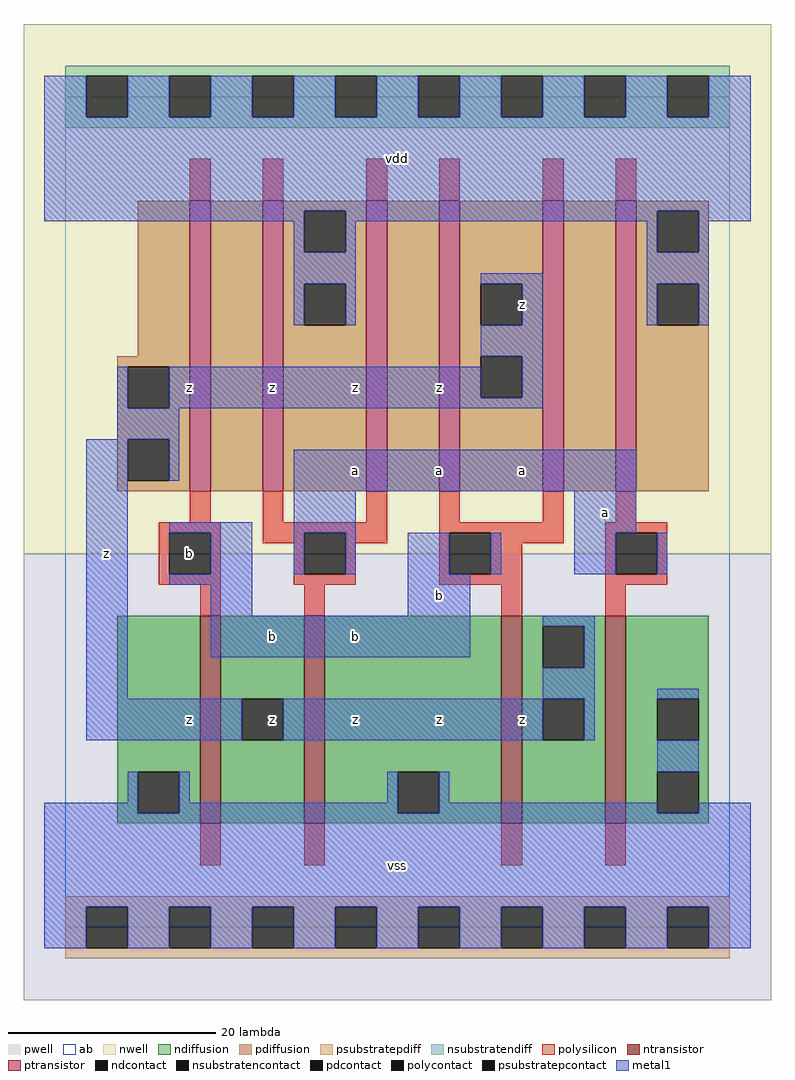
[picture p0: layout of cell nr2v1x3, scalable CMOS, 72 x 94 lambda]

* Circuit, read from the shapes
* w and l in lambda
.subckt nr2v1x3 a b vdd vss z
M1 z b vss vss nfet w=20 l=2 m=2
M2 vss a z vss nfet w=20 l=2 m=2
M3 n1 b z vdd pfet w=28 l=2
M4 vdd a n1 vdd pfet w=28 l=2
M5 n2 a vdd vdd pfet w=28 l=2
M6 z b n2 vdd pfet w=28 l=2
M7 n3 b z vdd pfet w=28 l=2
M8 vdd a n3 vdd pfet w=28 l=2
.ends

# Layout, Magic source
magic
tech scmos
<< ab >>
rect 0 0 64 80
<< pwell >>
rect -4 -7 68 36
<< nwell >>
rect -4 36 68 87
<< polysilicon >>
rect 12 70 14 74
rect 19 70 21 74
rect 29 70 31 74
rect 36 70 38 74
rect 46 70 48 74
rect 53 70 55 74
rect 12 39 14 42
rect 19 39 21 42
rect 29 39 31 42
rect 9 38 15 39
rect 9 34 10 38
rect 14 34 15 38
rect 19 38 31 39
rect 19 37 23 38
rect 9 33 15 34
rect 22 34 23 37
rect 27 37 31 38
rect 36 39 38 42
rect 46 39 48 42
rect 53 39 55 42
rect 36 38 48 39
rect 27 34 28 37
rect 22 33 28 34
rect 36 34 37 38
rect 41 37 48 38
rect 52 38 58 39
rect 41 34 44 37
rect 36 33 44 34
rect 13 30 15 33
rect 23 30 25 33
rect 42 30 44 33
rect 52 34 53 38
rect 57 34 58 38
rect 52 33 58 34
rect 52 30 54 33
rect 13 6 15 10
rect 23 6 25 10
rect 42 6 44 10
rect 52 6 54 10
<< ndiffusion >>
rect 5 15 13 30
rect 5 11 7 15
rect 11 11 13 15
rect 5 10 13 11
rect 15 22 23 30
rect 15 18 17 22
rect 21 18 23 22
rect 15 10 23 18
rect 25 15 42 30
rect 25 11 32 15
rect 36 11 42 15
rect 25 10 42 11
rect 44 29 52 30
rect 44 25 46 29
rect 50 25 52 29
rect 44 22 52 25
rect 44 18 46 22
rect 50 18 52 22
rect 44 10 52 18
rect 54 22 62 30
rect 54 18 57 22
rect 61 18 62 22
rect 54 15 62 18
rect 54 11 57 15
rect 61 11 62 15
rect 54 10 62 11
<< pdiffusion >>
rect 7 55 12 70
rect 5 54 12 55
rect 5 50 6 54
rect 10 50 12 54
rect 5 47 12 50
rect 5 43 6 47
rect 10 43 12 47
rect 5 42 12 43
rect 14 42 19 70
rect 21 69 29 70
rect 21 65 23 69
rect 27 65 29 69
rect 21 62 29 65
rect 21 58 23 62
rect 27 58 29 62
rect 21 42 29 58
rect 31 42 36 70
rect 38 62 46 70
rect 38 58 40 62
rect 44 58 46 62
rect 38 55 46 58
rect 38 51 40 55
rect 44 51 46 55
rect 38 42 46 51
rect 48 42 53 70
rect 55 69 62 70
rect 55 65 57 69
rect 61 65 62 69
rect 55 62 62 65
rect 55 58 57 62
rect 61 58 62 62
rect 55 42 62 58
<< metal1 >>
rect -2 78 2 82
rect 6 78 10 82
rect 14 78 18 82
rect 22 78 26 82
rect 30 78 34 82
rect 38 78 42 82
rect 46 78 50 82
rect 54 78 58 82
rect 62 78 66 82
rect -2 69 66 78
rect -2 68 23 69
rect 22 65 23 68
rect 27 68 57 69
rect 27 65 28 68
rect 22 62 28 65
rect 56 65 57 68
rect 61 68 66 69
rect 61 65 62 68
rect 22 58 23 62
rect 27 58 28 62
rect 40 62 46 63
rect 44 58 46 62
rect 56 62 62 65
rect 56 58 57 62
rect 61 58 62 62
rect 40 55 46 58
rect 5 50 6 54
rect 10 51 40 54
rect 44 51 46 55
rect 10 50 46 51
rect 5 47 11 50
rect 2 22 6 47
rect 10 43 11 47
rect 22 42 55 46
rect 10 38 18 39
rect 14 34 18 38
rect 22 38 28 42
rect 49 38 55 42
rect 22 34 23 38
rect 27 34 28 38
rect 33 34 37 38
rect 41 34 42 38
rect 49 34 53 38
rect 57 34 58 38
rect 10 33 18 34
rect 14 30 18 33
rect 33 30 39 34
rect 14 26 39 30
rect 46 29 51 30
rect 50 25 51 29
rect 46 22 51 25
rect 2 18 17 22
rect 21 18 46 22
rect 50 18 51 22
rect 57 22 61 23
rect 57 15 61 18
rect 6 12 7 15
rect -2 11 7 12
rect 11 12 12 15
rect 31 12 32 15
rect 11 11 32 12
rect 36 12 37 15
rect 36 11 57 12
rect 61 11 66 12
rect -2 2 66 11
rect -2 -2 2 2
rect 6 -2 10 2
rect 14 -2 18 2
rect 22 -2 26 2
rect 30 -2 34 2
rect 38 -2 42 2
rect 46 -2 50 2
rect 54 -2 58 2
rect 62 -2 66 2
<< ntransistor >>
rect 13 10 15 30
rect 23 10 25 30
rect 42 10 44 30
rect 52 10 54 30
<< ptransistor >>
rect 12 42 14 70
rect 19 42 21 70
rect 29 42 31 70
rect 36 42 38 70
rect 46 42 48 70
rect 53 42 55 70
<< polycontact >>
rect 10 34 14 38
rect 23 34 27 38
rect 37 34 41 38
rect 53 34 57 38
<< ndcontact >>
rect 7 11 11 15
rect 17 18 21 22
rect 32 11 36 15
rect 46 25 50 29
rect 46 18 50 22
rect 57 18 61 22
rect 57 11 61 15
<< pdcontact >>
rect 6 50 10 54
rect 6 43 10 47
rect 23 65 27 69
rect 23 58 27 62
rect 40 58 44 62
rect 40 51 44 55
rect 57 65 61 69
rect 57 58 61 62
<< psubstratepcontact >>
rect 2 -2 6 2
rect 10 -2 14 2
rect 18 -2 22 2
rect 26 -2 30 2
rect 34 -2 38 2
rect 42 -2 46 2
rect 50 -2 54 2
rect 58 -2 62 2
<< nsubstratencontact >>
rect 2 78 6 82
rect 10 78 14 82
rect 18 78 22 82
rect 26 78 30 82
rect 34 78 38 82
rect 42 78 46 82
rect 50 78 54 82
rect 58 78 62 82
<< psubstratepdiff >>
rect 0 2 64 3
rect 0 -2 2 2
rect 6 -2 10 2
rect 14 -2 18 2
rect 22 -2 26 2
rect 30 -2 34 2
rect 38 -2 42 2
rect 46 -2 50 2
rect 54 -2 58 2
rect 62 -2 64 2
rect 0 -3 64 -2
<< nsubstratendiff >>
rect 0 82 64 83
rect 0 78 2 82
rect 6 78 10 82
rect 14 78 18 82
rect 22 78 26 82
rect 30 78 34 82
rect 38 78 42 82
rect 46 78 50 82
rect 54 78 58 82
rect 62 78 64 82
rect 0 77 64 78
<< labels >>
rlabel metal1 4 36 4 36 6 z
rlabel metal1 12 20 12 20 6 z
rlabel metal1 20 28 20 28 6 b
rlabel ndcontact 20 20 20 20 6 z
rlabel polycontact 12 36 12 36 6 b
rlabel metal1 20 52 20 52 6 z
rlabel metal1 12 52 12 52 6 z
rlabel metal1 32 6 32 6 6 vss
rlabel metal1 28 28 28 28 6 b
rlabel metal1 28 20 28 20 6 z
rlabel metal1 36 20 36 20 6 z
rlabel metal1 36 32 36 32 6 b
rlabel metal1 28 44 28 44 6 a
rlabel metal1 36 44 36 44 6 a
rlabel metal1 36 52 36 52 6 z
rlabel metal1 28 52 28 52 6 z
rlabel metal1 32 74 32 74 6 vdd
rlabel metal1 44 20 44 20 6 z
rlabel metal1 44 44 44 44 6 a
rlabel metal1 44 60 44 60 6 z
rlabel metal1 52 40 52 40 6 a
<< end >>
